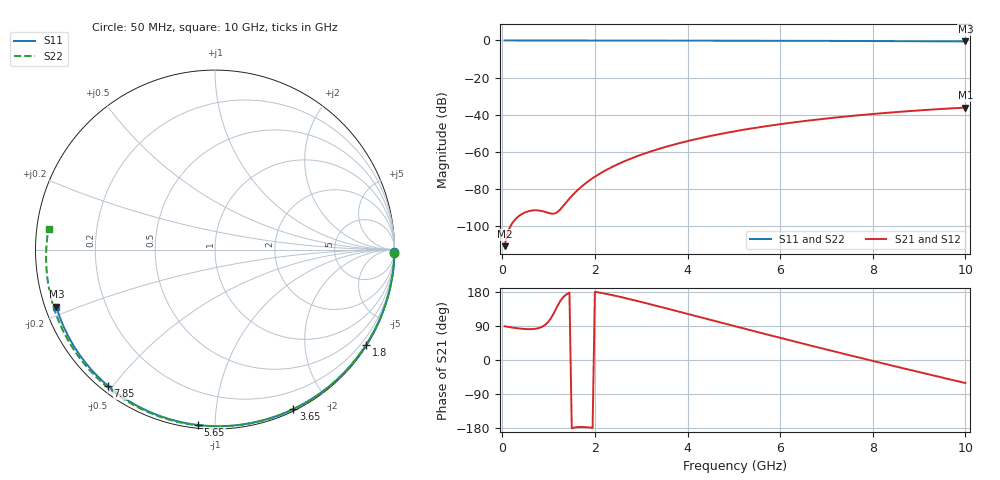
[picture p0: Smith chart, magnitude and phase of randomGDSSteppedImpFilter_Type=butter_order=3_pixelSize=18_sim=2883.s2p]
! freq	dB(S11)	phase(S11)	dB(S12)	phase(S12)
!  dB(S21)	phase(S21)	dB(S22)	phase(S22)
!S-par simulation data
#  GHz  S  DB  R 50
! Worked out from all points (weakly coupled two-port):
!   200 points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, 50 MHz to 10 GHz, reference 50 ohm
!   highest |S21| = -36.21 dB at 10 GHz (marker M1); lowest = -111.0 dB at 50 MHz (marker M2)
!   lowest |S11| = -0.5 dB at 10 GHz (marker M3), VSWR 32.10, Z = 1.6 - j8.72 ohm
!   |S11| at or under -10 dB: nowhere
!   |S22| runs from -0.6 to 0.0 dB; largest |S21 - S12| = 0
!   S11 on the Smith chart (normalised r, x): 50 MHz: open; 1.8 GHz: 0.03, -3.45; 3.65 GHz: 0.02, -1.60; 5.65 GHz: 0.02, -0.91; 7.85 GHz: 0.02, -0.49; 10 GHz: 0.03, -0.17
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0.05  -0.00 -0.9  -110.97 89.0  -110.97 89.0  -0.00 -1.1
0.4  -0.01 -7.3  -93.97 82.7  -93.97 82.7  -0.01 -8.8
0.8  -0.02 -14.5  -91.77 84.8  -91.77 84.8  -0.02 -17.6
1.2  -0.03 -21.7  -92.39 144.6  -92.39 144.6  -0.03 -26.2
1.65  -0.04 -29.7  -80.17 -176.9  -80.17 -176.9  -0.05 -35.8
1.75  -0.04 -31.5  -78.02 -176.9  -78.02 -176.9  -0.05 -37.9
1.8  -0.04 -32.3  -77.03 -177.2  -77.03 -177.2  -0.05 -39.0
2.1  -0.05 -37.6  -71.93 177.9  -71.93 177.9  -0.06 -45.3
2.5  -0.06 -44.5  -66.69 167.8  -66.69 167.8  -0.07 -53.5
2.9  -0.07 -51.3  -62.54 156.2  -62.54 156.2  -0.08 -61.6
3.4  -0.08 -59.7  -58.35 140.7  -58.35 140.7  -0.09 -71.4
3.65  -0.09 -63.9  -56.55 132.9  -56.55 132.9  -0.10 -76.2
4.35  -0.11 -75.2  -52.29 110.6  -52.29 110.6  -0.13 -89.4
5.05  -0.13 -86.3  -48.87 88.3  -48.87 88.3  -0.16 -102.1
5.65  -0.16 -95.5  -46.42 69.4  -46.42 69.4  -0.19 -112.7
6.15  -0.19 -103.1  -44.66 53.8  -44.66 53.8  -0.22 -121.3
6.7  -0.22 -111.3  -42.95 36.8  -42.95 36.8  -0.25 -130.7
7.3  -0.26 -120.1  -41.32 18.6  -41.32 18.6  -0.30 -140.7
7.85  -0.30 -128.2  -40.00 2.0  -40.00 2.0  -0.35 -150.0
8.35  -0.35 -135.5  -38.94 -12.8  -38.94 -12.8  -0.39 -158.4
9.2  -0.44 -148.1  -37.39 -37.7  -37.39 -37.7  -0.49 -172.9
10  -0.54 -160.2  -36.21 -60.7  -36.21 -60.7  -0.59 172.9
